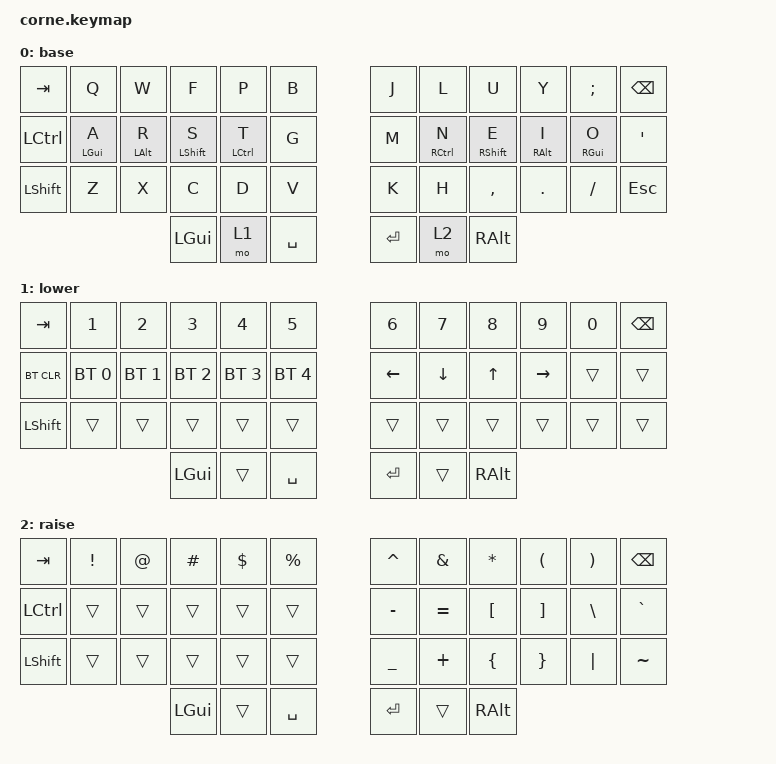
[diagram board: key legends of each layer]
/*
 * Copyright (c) 2020 The ZMK Contributors
 *
 * SPDX-License-Identifier: MIT
 */

#include <behaviors.dtsi>
#include <dt-bindings/zmk/bt.h>
#include <dt-bindings/zmk/keys.h>

/ {
    behaviors {
        hml: hml {
            compatible = "zmk,behavior-hold-tap";
            label = "HML";
            bindings = <&kp>, <&kp>;

            #binding-cells = <2>;
            hold-trigger-key-positions = <6 18 30 7 19 31 8 20 32 9 10 11 21 22 23 33 34 35 37 38 39 40 36 37 38 39 40 41>;
            tapping-term-ms = <280>;
            quick-tap-ms = <175>;
            flavor = "balanced";
            hold-trigger-on-release;
            require-prior-idle-ms = <150>;
        };

        hmr: hmr {
            compatible = "zmk,behavior-hold-tap";
            label = "HMR";
            bindings = <&kp>, <&kp>;

            #binding-cells = <2>;
            tapping-term-ms = <280>;
            quick-tap-ms = <175>;
            flavor = "balanced";
            hold-trigger-on-release;
            require-prior-idle-ms = <150>;
            hold-trigger-key-positions = <36 37 38 39 40 41 0 1 2 3 4 5 12 13 14 15 16 17 24 25 26 27 28 29>;
        };
    };

    keymap {
        compatible = "zmk,keymap";

        default_layer {
            display-name = "base";
            bindings = <
&kp TAB    &kp Q            &kp W            &kp F              &kp P                &kp B        &kp J    &kp L                 &kp U               &kp Y             &kp SEMI          &kp BSPC
&kp LCTRL  &hml LEFT_GUI A  &hml LEFT_ALT R  &hml LEFT_SHIFT S  &hml LEFT_CONTROL T  &kp G        &kp M    &hmr RIGHT_CONTROL N  &hmr RIGHT_SHIFT E  &hmr RIGHT_ALT I  &hmr RIGHT_GUI O  &kp SQT
&kp LSHFT  &kp Z            &kp X            &kp C              &kp D                &kp V        &kp K    &kp H                 &kp COMMA           &kp DOT           &kp FSLH          &kp ESC
                                             &kp LGUI           &mo 1                &kp SPACE    &kp RET  &mo 2                 &kp RALT
            >;
        };

        lower_layer {
            display-name = "lower";
            bindings = <
&kp TAB     &kp N1        &kp N2        &kp N3        &kp N4        &kp N5          &kp N6    &kp N7    &kp N8    &kp N9     &kp N0  &kp BSPC
&bt BT_CLR  &bt BT_SEL 0  &bt BT_SEL 1  &bt BT_SEL 2  &bt BT_SEL 3  &bt BT_SEL 4    &kp LEFT  &kp DOWN  &kp UP    &kp RIGHT  &trans  &trans
&kp LSHFT   &trans        &trans        &trans        &trans        &trans          &trans    &trans    &trans    &trans     &trans  &trans
                                        &kp LGUI      &trans        &kp SPACE       &kp RET   &trans    &kp RALT
            >;
        };

        raise_layer {
            display-name = "raise";
            bindings = <
&kp TAB    &kp EXCL  &kp AT  &kp HASH  &kp DLLR  &kp PRCNT    &kp CARET  &kp AMPS   &kp ASTRK  &kp LPAR  &kp RPAR  &kp BSPC
&kp LCTRL  &trans    &trans  &trans    &trans    &trans       &kp MINUS  &kp EQUAL  &kp LBKT   &kp RBKT  &kp BSLH  &kp GRAVE
&kp LSHFT  &trans    &trans  &trans    &trans    &trans       &kp UNDER  &kp PLUS   &kp LBRC   &kp RBRC  &kp PIPE  &kp TILDE
                             &kp LGUI  &trans    &kp SPACE    &kp RET    &trans     &kp RALT
            >;
        };
    };
};
